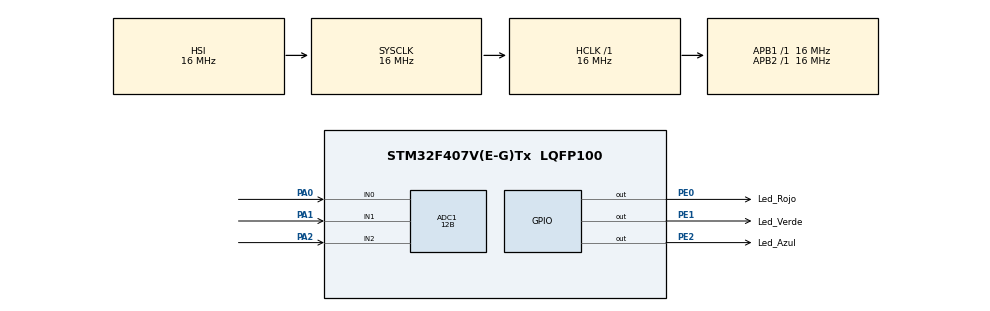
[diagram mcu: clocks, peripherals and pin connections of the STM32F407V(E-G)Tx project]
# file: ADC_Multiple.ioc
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ADC1.Channel-0\#ChannelRegularConversion=ADC_CHANNEL_0
ADC1.Channel-1\#ChannelRegularConversion=ADC_CHANNEL_1
ADC1.Channel-2\#ChannelRegularConversion=ADC_CHANNEL_2
ADC1.ClockPrescaler=ADC_CLOCK_SYNC_PCLK_DIV2
ADC1.ContinuousConvMode=ENABLE
ADC1.DMAContinuousRequests=ENABLE
ADC1.DataAlign=ADC_DATAALIGN_RIGHT
ADC1.DiscontinuousConvMode=DISABLE
ADC1.EOCSelection=ADC_EOC_SINGLE_CONV
ADC1.EnableAnalogWatchDog=false
ADC1.ExternalTrigConv=ADC_SOFTWARE_START
ADC1.ExternalTrigConvEdge=ADC_EXTERNALTRIGCONVEDGE_NONE
ADC1.InjNumberOfConversion=0
ADC1.NbrOfConversion=3
ADC1.NbrOfConversionFlag=1
ADC1.Rank-0\#ChannelRegularConversion=1
ADC1.Rank-1\#ChannelRegularConversion=2
ADC1.Rank-2\#ChannelRegularConversion=3
ADC1.Resolution=ADC_RESOLUTION_12B
ADC1.SamplingTime-0\#ChannelRegularConversion=ADC_SAMPLETIME_15CYCLES
ADC1.SamplingTime-1\#ChannelRegularConversion=ADC_SAMPLETIME_15CYCLES
ADC1.SamplingTime-2\#ChannelRegularConversion=ADC_SAMPLETIME_15CYCLES
ADC1.ScanConvMode=ENABLE
ADC1.master=1
Dma.ADC1.0.Direction=DMA_PERIPH_TO_MEMORY
Dma.ADC1.0.FIFOMode=DMA_FIFOMODE_DISABLE
Dma.ADC1.0.Instance=DMA2_Stream0
Dma.ADC1.0.MemDataAlignment=DMA_MDATAALIGN_HALFWORD
Dma.ADC1.0.MemInc=DMA_MINC_ENABLE
Dma.ADC1.0.Mode=DMA_CIRCULAR
Dma.ADC1.0.PeriphDataAlignment=DMA_PDATAALIGN_HALFWORD
Dma.ADC1.0.PeriphInc=DMA_PINC_DISABLE
Dma.ADC1.0.Priority=DMA_PRIORITY_LOW
Dma.Request0=ADC1
Mcu.Family=STM32F4
Mcu.Name=STM32F407V(E-G)Tx
Mcu.Package=LQFP100
NVIC.DMA2_Stream0_IRQn=true\:0\:0\:false\:false\:true\:true
NVIC.PriorityGroup=NVIC_PRIORITYGROUP_4
PA0-WKUP.Signal=ADCx_IN0
PA1.Signal=ADCx_IN1
PA2.Signal=ADCx_IN2
PE0.GPIO_Label=Led_Rojo
PE0.PinState=GPIO_PIN_SET
PE0.Signal=GPIO_Output
PE1.GPIO_Label=Led_Verde
PE1.PinState=GPIO_PIN_SET
PE1.Signal=GPIO_Output
PE2.GPIO_Label=Led_Azul
PE2.PinState=GPIO_PIN_SET
PE2.Signal=GPIO_Output
ProjectManager.HeapSize=0x200
ProjectManager.StackSize=0x400
ProjectManager.TargetToolchain=TrueSTUDIO
RCC.AHBFreq_Value=16000000
RCC.APB1Freq_Value=16000000
RCC.APB2Freq_Value=16000000
RCC.CortexFreq_Value=16000000
RCC.HSE_VALUE=25000000
RCC.HSI_VALUE=16000000
RCC.LSE_VALUE=32768
RCC.SYSCLKFreq_VALUE=16000000
RCC.VCOOutputFreq_Value=192000000
SH.ADCx_IN0.0=ADC1_IN0,IN0
SH.ADCx_IN1.0=ADC1_IN1,IN1
SH.ADCx_IN2.0=ADC1_IN2,IN2
board=ADC_Multiple

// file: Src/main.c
/**
  ******************************************************************************
  * File Name          : main.c
  * Description        : Main program body
  ******************************************************************************
  ** This notice applies to any and all portions of this file
  * that are not between comment pairs USER CODE BEGIN and
  * USER CODE END. Other portions of this file, whether
  * inserted by the user or by software development tools
  * are owned by their respective copyright owners.
  *
  * COPYRIGHT(c) 2018 STMicroelectronics
  *
  * Redistribution and use in source and binary forms, with or without modification,
  * are permitted provided that the following conditions are met:
  *   1. Redistributions of source code must retain the above copyright notice,
  *      this list of conditions and the following disclaimer.
  *   2. Redistributions in binary form must reproduce the above copyright notice,
  *      this list of conditions and the following disclaimer in the documentation
  *      and/or other materials provided with the distribution.
  *   3. Neither the name of STMicroelectronics nor the names of its contributors
  *      may be used to endorse or promote products derived from this software
  *      without specific prior written permission.
  *
  * THIS SOFTWARE IS PROVIDED BY THE COPYRIGHT HOLDERS AND CONTRIBUTORS "AS IS"
  * AND ANY EXPRESS OR IMPLIED WARRANTIES, INCLUDING, BUT NOT LIMITED TO, THE
  * IMPLIED WARRANTIES OF MERCHANTABILITY AND FITNESS FOR A PARTICULAR PURPOSE ARE
  * DISCLAIMED. IN NO EVENT SHALL THE COPYRIGHT HOLDER OR CONTRIBUTORS BE LIABLE
  * FOR ANY DIRECT, INDIRECT, INCIDENTAL, SPECIAL, EXEMPLARY, OR CONSEQUENTIAL
  * DAMAGES (INCLUDING, BUT NOT LIMITED TO, PROCUREMENT OF SUBSTITUTE GOODS OR
  * SERVICES; LOSS OF USE, DATA, OR PROFITS; OR BUSINESS INTERRUPTION) HOWEVER
  * CAUSED AND ON ANY THEORY OF LIABILITY, WHETHER IN CONTRACT, STRICT LIABILITY,
  * OR TORT (INCLUDING NEGLIGENCE OR OTHERWISE) ARISING IN ANY WAY OUT OF THE USE
  * OF THIS SOFTWARE, EVEN IF ADVISED OF THE POSSIBILITY OF SUCH DAMAGE.
  *
  ******************************************************************************
  */

#include "main.h"
#include "stm32f4xx_hal.h"
#include "adc.h"
#include "dma.h"
#include "gpio.h"

/* USER CODE BEGIN Includes */
#define Enciende GPIO_PIN_RESET
#define Apaga GPIO_PIN_SET
/* USER CODE END Includes */

/* USER CODE BEGIN PV */
/* Private variables ---------------------------------------------------------*/

/* USER CODE END PV */

void SystemClock_Config(void);

/* USER CODE BEGIN PFP */
/* Private function prototypes -----------------------------------------------*/

/* USER CODE END PFP */

/* USER CODE BEGIN 0 */
 uint16_t lectura_adc[3];//Variable buffer donde el DMA almacenara la lectura
/* USER CODE END 0 */

int main(void)
{

  /* MCU Configuration----------------------------------------------------------*/

  /* Reset of all peripherals, Initializes the Flash interface and the Systick. */
  HAL_Init();

  /* Configure the system clock */
  SystemClock_Config();

  /* Initialize all configured peripherals */
  MX_GPIO_Init();
  MX_DMA_Init();
  MX_ADC1_Init();

  /* USER CODE BEGIN 2 */
  //puntero del adc , guarda la lectura en 32 bits inicia y le no es nesesario meterla en el ciclo while por que se declaro ciclico

   HAL_ADC_Start_DMA(&hadc1,(uint32_t*)lectura_adc,3);
  /* USER CODE END 2 */

  /* Infinite loop */
  while (1)
  {

  /* USER CODE BEGIN 3 */
    if(lectura_adc[0]<=1023){
    	HAL_GPIO_WritePin(Led_Rojo_GPIO_Port,Led_Rojo_Pin,Apaga);
    }
    else{
    	HAL_GPIO_WritePin(Led_Rojo_GPIO_Port,Led_Rojo_Pin,Enciende);
    }
    if(lectura_adc[1]<=1023){
    	HAL_GPIO_WritePin(Led_Verde_GPIO_Port,Led_Verde_Pin,Apaga);
    }
    else{
    	HAL_GPIO_WritePin(Led_Verde_GPIO_Port,Led_Verde_Pin,Enciende);
    }

    if(lectura_adc[2]<=1023){
    	HAL_GPIO_WritePin(Led_Azul_GPIO_Port,Led_Azul_Pin,Apaga);
    }
    else{
    	HAL_GPIO_WritePin(Led_Azul_GPIO_Port,Led_Azul_Pin,Enciende);
    }

  }
  /* USER CODE END 3 */

}

/** System Clock Configuration
*/
void SystemClock_Config(void)
{

  RCC_OscInitTypeDef RCC_OscInitStruct;
  RCC_ClkInitTypeDef RCC_ClkInitStruct;

    /**Configure the main internal regulator output voltage
    */
  __HAL_RCC_PWR_CLK_ENABLE();

  __HAL_PWR_VOLTAGESCALING_CONFIG(PWR_REGULATOR_VOLTAGE_SCALE1);

    /**Initializes the CPU, AHB and APB busses clocks
    */
  RCC_OscInitStruct.OscillatorType = RCC_OSCILLATORTYPE_HSI;
  RCC_OscInitStruct.HSIState = RCC_HSI_ON;
  RCC_OscInitStruct.HSICalibrationValue = 16;
  RCC_OscInitStruct.PLL.PLLState = RCC_PLL_NONE;
  if (HAL_RCC_OscConfig(&RCC_OscInitStruct) != HAL_OK)
  {
    _Error_Handler(__FILE__, __LINE__);
  }

    /**Initializes the CPU, AHB and APB busses clocks
    */
  RCC_ClkInitStruct.ClockType = RCC_CLOCKTYPE_HCLK|RCC_CLOCKTYPE_SYSCLK
                              |RCC_CLOCKTYPE_PCLK1|RCC_CLOCKTYPE_PCLK2;
  RCC_ClkInitStruct.SYSCLKSource = RCC_SYSCLKSOURCE_HSI;
  RCC_ClkInitStruct.AHBCLKDivider = RCC_SYSCLK_DIV1;
  RCC_ClkInitStruct.APB1CLKDivider = RCC_HCLK_DIV1;
  RCC_ClkInitStruct.APB2CLKDivider = RCC_HCLK_DIV1;

  if (HAL_RCC_ClockConfig(&RCC_ClkInitStruct, FLASH_LATENCY_0) != HAL_OK)
  {
    _Error_Handler(__FILE__, __LINE__);
  }

    /**Configure the Systick interrupt time
    */
  HAL_SYSTICK_Config(HAL_RCC_GetHCLKFreq()/1000);

    /**Configure the Systick
    */
  HAL_SYSTICK_CLKSourceConfig(SYSTICK_CLKSOURCE_HCLK);

  /* SysTick_IRQn interrupt configuration */
  HAL_NVIC_SetPriority(SysTick_IRQn, 0, 0);
}

void _Error_Handler(char * file, int line)
{
  while(1)
  {
  }
}

/************************ (C) COPYRIGHT STMicroelectronics *****END OF FILE****/
